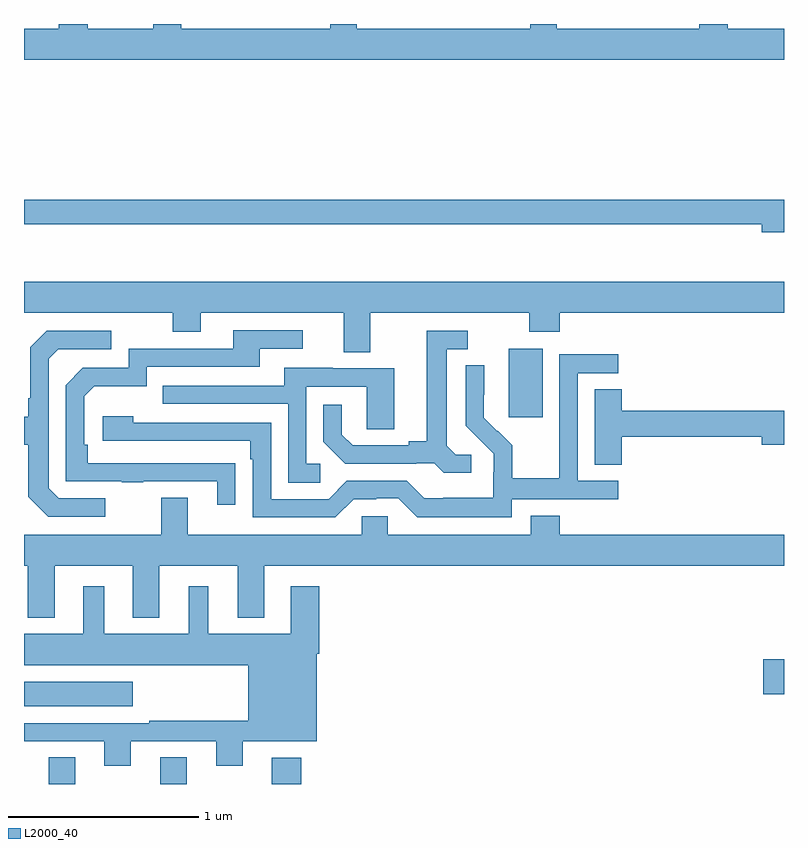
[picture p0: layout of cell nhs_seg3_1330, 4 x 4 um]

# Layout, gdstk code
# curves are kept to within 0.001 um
import gdstk
lib = gdstk.Library(unit=1e-6, precision=1e-09)
def R(c, l, rs):  # rectangles x0, y0, x1, y1
    for r in rs: c.add(gdstk.rectangle(r[:2], r[2:], *l))
def P(c, l, *ps):  # polygons
    for p in ps: c.add(gdstk.Polygon(p, *l))
L2000_40 = (2000, 40)

nhs_seg3_1330 = lib.new_cell('nhs_seg3_1330')
R(nhs_seg3_1330, L2000_40, [(179.129,734.4,179.269,734.54), (179.717,734.4,179.857,734.54), (180.305,734.4,180.458,734.539), (179,734.81,179.572,734.938), (182.892,734.873,183,735.056), (181.55,736.329,181.729,736.69)])
P(nhs_seg3_1330, L2000_40, [(183,738.376),(182.703,738.376),(182.703,738.4),(182.555,738.4),(182.555,738.376),(181.803,738.376),(181.803,738.4),(181.665,738.4),(181.665,738.376),(180.751,738.376),(180.751,738.4),(180.611,738.4),(180.611,738.376),(179.827,738.376),(179.827,738.4),(179.68,738.4),(179.68,738.376),(179.335,738.376),(179.335,738.4),(179.183,738.4),(179.183,738.376),(179,738.376),(179,738.212),(183,738.212)],
  [(183,737.474),(179,737.474),(179,737.346),(182.882,737.346),(182.882,737.303),(183,737.303)],
  [(180.823,736.88),(181.66,736.88),(181.66,736.781),(181.82,736.781),(181.82,736.88),(183,736.88),(183,737.044),(179,737.044),(179,736.88),(179.782,736.88),(179.782,736.781),(179.929,736.781),(179.929,736.88),(180.683,736.88),(180.683,736.672),(180.823,736.672)],
  [(180.113,736.088),(179.336,736.089),(179.336,736.186),(179.316,736.186),(179.316,736.44),(179.369,736.493),(179.646,736.493),(179.646,736.596),(180.241,736.596),(180.241,736.692),(180.466,736.692),(180.466,736.788),(180.101,736.788),(180.101,736.692),(179.55,736.692),(179.55,736.59),(179.31,736.59),(179.22,736.5),(179.22,735.993),(179.515,735.993),(179.515,735.988),(179.627,735.988),(179.627,735.993),(180.017,735.993),(180.017,735.87),(180.113,735.87)],
  [(179.428,735.903),(179.184,735.903),(179.13,735.957),(179.13,736.638),(179.181,736.689),(179.458,736.689),(179.458,736.785),(179.121,736.785),(179.034,736.698),(179.034,736.429),(179.022,736.429),(179.022,736.333),(179,736.333),(179,736.186),(179.022,736.186),(179.022,735.913),(179.127,735.807),(179.428,735.807)],
  [(181.354,736.134),(181.272,736.134),(181.225,736.181),(181.225,736.689),(181.336,736.689),(181.336,736.785),(181.121,736.785),(181.121,736.205),(181.025,736.205),(181.025,736.182),(180.73,736.182),(180.673,736.239),(180.673,736.396),(180.576,736.396),(180.576,736.202),(180.692,736.086),(181.064,736.086),(181.064,736.089),(181.158,736.089),(181.21,736.037),(181.354,736.037)],
  [(181.566,735.9),(182.128,735.9),(182.128,735.996),(181.914,735.996),(181.914,736.563),(182.128,736.563),(182.128,736.662),(181.818,736.662),(181.818,736.232),(181.816,736.232),(181.816,736.009),(181.571,736.009),(181.571,736.183),(181.494,736.26),(181.491,736.257),(181.421,736.328),(181.422,736.604),(181.326,736.604),(181.326,736.286),(181.472,736.138),(181.472,736.041),(181.47,736.041),(181.47,735.907),(181.207,735.907),(181.207,735.903),(181.107,735.903),(181.014,735.996),(180.699,735.996),(180.603,735.9),(180.3,735.9),(180.3,736.302),(179.576,736.302),(179.576,736.336),(179.415,736.336),(179.415,736.206),(180.191,736.206),(180.191,736.109),(180.204,736.109),(180.204,735.804),(180.639,735.804),(180.735,735.9),(180.854,735.9),(180.854,735.903),(180.969,735.903),(181.069,735.803),(181.566,735.803)],
  [(180.559,736.086),(180.486,736.086),(180.486,736.491),(180.804,736.491),(180.804,736.267),(180.949,736.267),(180.949,736.587),(180.625,736.587),(180.625,736.591),(180.371,736.591),(180.371,736.497),(179.731,736.497),(179.731,736.401),(180.39,736.401),(180.39,735.985),(180.559,735.985)],
  [(182.147,736.228),(182.882,736.228),(182.882,736.186),(183,736.186),(183,736.364),(182.147,736.364),(182.147,736.478),(182.003,736.478),(182.003,736.081),(182.147,736.081)],
  [(179.161,735.548),(179.573,735.548),(179.573,735.275),(179.713,735.275),(179.713,735.548),(180.125,735.548),(180.125,735.275),(180.265,735.275),(180.265,735.548),(183,735.548),(183,735.712),(181.82,735.712),(181.82,735.811),(181.667,735.811),(181.667,735.712),(180.915,735.712),(180.915,735.81),(180.777,735.81),(180.777,735.712),(179.863,735.712),(179.863,735.907),(179.723,735.907),(179.723,735.712),(179,735.712),(179,735.548),(179.021,735.548),(179.021,735.275),(179.161,735.275)],
  [(179.563,734.625),(180.011,734.625),(180.011,734.496),(180.151,734.496),(180.151,734.624),(180.541,734.624),(180.541,735.086),(180.554,735.086),(180.554,735.442),(180.404,735.442),(180.404,735.19),(179.971,735.19),(179.971,735.442),(179.867,735.442),(179.867,735.19),(179.422,735.19),(179.422,735.442),(179.312,735.442),(179.312,735.19),(179,735.19),(179,735.026),(180.179,735.026),(180.179,734.734),(179.659,734.734),(179.659,734.721),(179,734.721),(179,734.625),(179.423,734.625),(179.423,734.496),(179.563,734.496)])

lib.write_gds('nhs_seg3_1330.gds')
